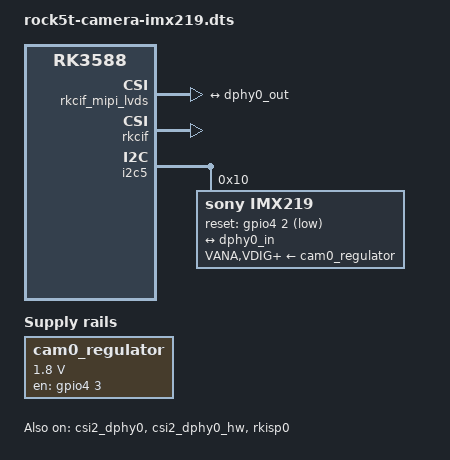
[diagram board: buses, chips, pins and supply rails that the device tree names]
/*
 * Device Tree Overlay: IMX219 (RPi Camera v2) on Rock 5T CAM0
 *
 * Sony IMX219 8MP camera module connected to the 31-pin FPC CAM0
 * connector via 2-lane or 4-lane MIPI CSI-2.
 *
 * Wiring (CAM0 FPC connector — active low reset, active high enable):
 *   - Power enable: GPIO4_A3 (active high)
 *   - Reset:        GPIO4_A2 (active low)
 *   - I2C:          I2C5 (on-board, dedicated to CAM0)
 *   - MIPI CSI-2:   csi2_dphy0 (2 or 4 data lanes)
 *
 * IMPORTANT: Adjust GPIO pins and I2C bus for your specific board
 * revision. The pins below match the Rock 5T V1.1 schematic.
 *
 * To compile:
 *   dtc -@ -I dts -O dtb -o rock5t-camera-imx219.dtbo rock5t-camera-imx219.dts
 */

/dts-v1/;
/plugin/;

/ {
	compatible = "radxa,rock-5t", "rockchip,rk3588";

	fragment@0 {
		target-path = "/";
		__overlay__ {
			cam0_regulator: cam0-regulator {
				compatible = "regulator-fixed";
				regulator-name = "cam0_supply";
				regulator-min-microvolt = <1800000>;
				regulator-max-microvolt = <1800000>;
				gpio = <&gpio4 3 0>; /* GPIO4_A3, active high */
				enable-active-high;
				regulator-always-on;
			};
		};
	};

	/* Enable MIPI D-PHY for CAM0 */
	fragment@1 {
		target = <&csi2_dphy0>;
		__overlay__ {
			status = "okay";

			ports {
				#address-cells = <1>;
				#size-cells = <0>;

				/* Input from sensor */
				port@0 {
					reg = <0>;
					dphy0_in: endpoint {
						remote-endpoint = <&imx219_out>;
						data-lanes = <1 2>;
						/* For 4-lane, use: data-lanes = <1 2 3 4>; */
					};
				};

				/* Output to CIF */
				port@1 {
					reg = <1>;
					dphy0_out: endpoint {
						remote-endpoint = <&cif_mipi0_in>;
					};
				};
			};
		};
	};

	/* Enable D-PHY hardware block */
	fragment@2 {
		target = <&csi2_dphy0_hw>;
		__overlay__ {
			status = "okay";
		};
	};

	/* Enable CIF MIPI receiver */
	fragment@3 {
		target = <&rkcif_mipi_lvds>;
		__overlay__ {
			status = "okay";

			port {
				cif_mipi0_in: endpoint {
					remote-endpoint = <&dphy0_out>;
				};
			};
		};
	};

	/* Enable CIF controller */
	fragment@4 {
		target = <&rkcif>;
		__overlay__ {
			status = "okay";
		};
	};

	/* Enable ISP0 for image processing */
	fragment@5 {
		target = <&rkisp0>;
		__overlay__ {
			status = "okay";
		};
	};

	/* IMX219 sensor on I2C5 */
	fragment@6 {
		target = <&i2c5>;
		__overlay__ {
			status = "okay";
			#address-cells = <1>;
			#size-cells = <0>;

			imx219: imx219@10 {
				compatible = "sony,imx219";
				reg = <0x10>;
				clocks = <&cam0_clk>;
				clock-names = "xclk";

				reset-gpios = <&gpio4 2 1>; /* GPIO4_A2, active low */
				VANA-supply = <&cam0_regulator>;
				VDIG-supply = <&cam0_regulator>;
				VDDL-supply = <&cam0_regulator>;

				port {
					imx219_out: endpoint {
						remote-endpoint = <&dphy0_in>;
						data-lanes = <1 2>;
						clock-lanes = <0>;
						clock-noncontinuous;
						link-frequencies = /bits/ 64 <456000000>;
					};
				};
			};
		};
	};

	/* 24 MHz reference clock for the sensor */
	fragment@7 {
		target-path = "/";
		__overlay__ {
			cam0_clk: cam0-clk {
				compatible = "fixed-clock";
				#clock-cells = <0>;
				clock-frequency = <24000000>;
				clock-output-names = "cam0_xclk";
			};
		};
	};
};
